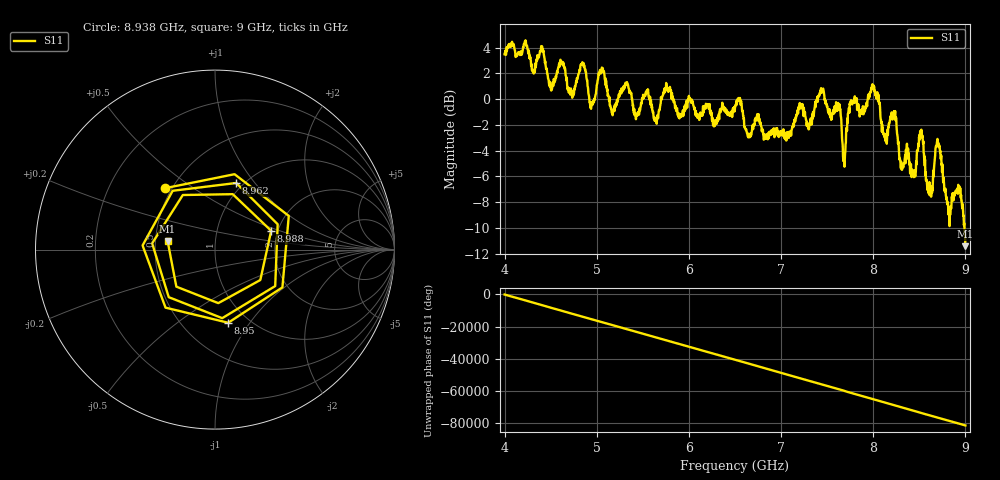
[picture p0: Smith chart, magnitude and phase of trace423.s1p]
! Created with skrf 1.8.0 (http://scikit-rf.org).
# Hz S RI R 50.0
!freq ReS11 ImS11
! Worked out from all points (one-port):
!   1601 points, 4 GHz to 9 GHz, reference 50 ohm
!   lowest |S11| = -11.4 dB at 9 GHz (marker M1), VSWR 1.73, Z = 29 + j3.03 ohm
!   |S11| at or under -10 dB: 8.989572 GHz to end of sweep
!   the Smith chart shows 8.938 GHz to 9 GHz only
!   S11 on the Smith chart (normalised r, x): 8.938 GHz: 0.46, +0.39; 8.95 GHz: 0.81, -0.80; 8.962 GHz: 0.93, +0.81; 8.988 GHz: 1.84, +0.43; 9 GHz: 0.58, +0.06
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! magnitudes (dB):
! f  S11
! 4 GHz  3.5
! 4.625 GHz  2.8
! 4.85 GHz  2.7
! 4.944 GHz  -0.5
! 5.053 GHz  2.2
! 5.25 GHz  0.5
! 5.875 GHz  -1.1
! 6.5 GHz  -0.6
! 7.125 GHz  -2.1
! 7.444 GHz  0.7
! 7.622 GHz  -0.6
! 7.688 GHz  -5.2
! 7.75 GHz  -0.2
! 8.003 GHz  0.8
! 8.125 GHz  -3.0
! 8.225 GHz  -0.9
! 8.306 GHz  -5.1
! 8.375 GHz  -4.0
! 8.438 GHz  -5.8
! 8.522 GHz  -2.4
! 8.619 GHz  -7.1
! 8.703 GHz  -3.5
! 8.812 GHz  -8.2
! 8.938 GHz  -7.1
! 8.95 GHz  -7.7
! 8.962 GHz  -8.2
! 8.988 GHz  -9.6
! 9 GHz  -11.4
